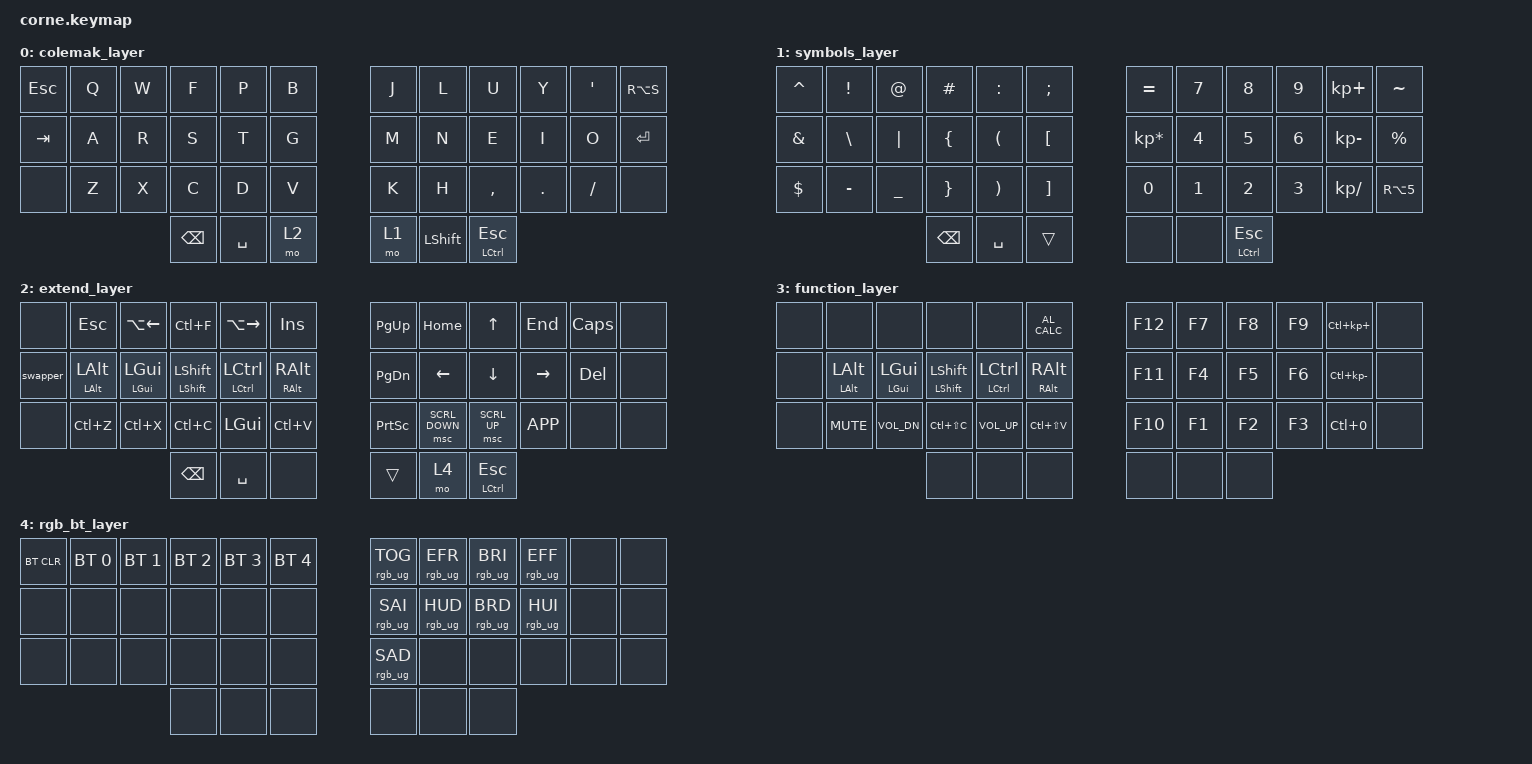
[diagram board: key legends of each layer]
/*
 * Colemak-DH layout for Corne (42 keys)
 * Converted from idobao/id75 QMK keymap "standardish_colmak9"
 *
 * Layer structure:
 *   0  Colemak-DH (base)
 *   1  Symbols + Numpad
 *   2  Extend (navigation)
 *   3  Function + Media  (conditional: hold L1 + L2)
 *   4  RGB + Bluetooth
 *
 * Key positions (for ignored-key-positions reference):
 *   Row 0:  0   1   2   3   4   5       6   7   8   9  10  11
 *   Row 1: 12  13  14  15  16  17      18  19  20  21  22  23
 *   Row 2: 24  25  26  27  28  29      30  31  32  33  34  35
 *   Thumb:         36  37  38              39  40  41
 */

#include <behaviors.dtsi>
#include <dt-bindings/zmk/keys.h>
#include <dt-bindings/zmk/bt.h>
#include <dt-bindings/zmk/rgb.h>
#include <dt-bindings/zmk/mouse.h>

/ {
    behaviors {
        swapper: swapper {
            compatible = "zmk,behavior-tri-state";
            #binding-cells = <0>;
            bindings = <&kt LALT>, <&kp TAB>, <&kt LALT>;
            ignored-key-positions = <15>;
        };

        /* Tap = sticky modifier; hold = plain modifier (released on key release,
         * no latching). Keeps chord ergonomics via &sk while fixing the case
         * where a held mod stays latched after release (e.g. Ctrl + scroll zoom).
         */
        skh: sticky_or_hold {
            compatible = "zmk,behavior-hold-tap";
            #binding-cells = <2>;
            tapping-term-ms = <200>;
            flavor = "tap-preferred";
            bindings = <&kp>, <&sk>;
        };
    };

    conditional_layers {
        compatible = "zmk,conditional-layers";
        function_layer_combo {
            if-layers = <1 2>;
            then-layer = <3>;
        };
    };

    keymap {
        compatible = "zmk,keymap";

        /* Layer 0: Colemak-DH
         * ┌─────┬─────┬─────┬─────┬─────┬─────┐   ┌─────┬─────┬─────┬─────┬─────┬─────┐
         * │ ESC │  Q  │  W  │  F  │  P  │  B  │   │  J  │  L  │  U  │  Y  │  '  │RA(S)│
         * ├─────┼─────┼─────┼─────┼─────┼─────┤   ├─────┼─────┼─────┼─────┼─────┼─────┤
         * │ TAB │  A  │  R  │  S  │  T  │  G  │   │  M  │  N  │  E  │  I  │  O  │ RET │
         * ├─────┼─────┼─────┼─────┼─────┼─────┤   ├─────┼─────┼─────┼─────┼─────┼─────┤
         * │     │  Z  │  X  │  C  │  D  │  V  │   │  K  │  H  │  ,  │  .  │  /  │     │
         * └─────┴─────┴─────┼─────┼─────┼─────┤   ├─────┼─────┼─────┼─────┴─────┴─────┘
         *                   │BSPC │ SPC │ L2  │   │ L1  │LSHFT│CT/ES│
         *                   └─────┴─────┴─────┘   └─────┴─────┴─────┘
         */
        colemak_layer {
            bindings = <
                &kp ESC    &kp Q  &kp W  &kp F      &kp P      &kp B      &kp J  &kp L      &kp U      &kp Y    &kp SQT   &kp RA(S)
                &kp TAB    &kp A  &kp R  &kp S      &kp T      &kp G      &kp M  &kp N      &kp E      &kp I    &kp O     &kp RET
                &none      &kp Z  &kp X  &kp C      &kp D      &kp V      &kp K  &kp H      &kp COMMA  &kp DOT  &kp FSLH  &none
                                         &kp BSPC   &kp SPACE  &mo 2      &mo 1  &kp LSHFT  &mt LCTRL ESC
            >;
        };

        /* Layer 1: Symbols + Numpad
         * ┌─────┬─────┬─────┬─────┬─────┬─────┐   ┌─────┬─────┬─────┬─────┬─────┬─────┐
         * │  ^  │  !  │  @  │  #  │  :  │  ;  │   │  =  │  7  │  8  │  9  │ KP+ │  ~  │
         * ├─────┼─────┼─────┼─────┼─────┼─────┤   ├─────┼─────┼─────┼─────┼─────┼─────┤
         * │  &  │  \  │  |  │  {  │  (  │  [  │   │ KP* │  4  │  5  │  6  │ KP- │  %  │
         * ├─────┼─────┼─────┼─────┼─────┼─────┤   ├─────┼─────┼─────┼─────┼─────┼─────┤
         * │  $  │  -  │  _  │  }  │  )  │  ]  │   │  0  │  1  │  2  │  3  │ KP/ │RA(5)│
         * └─────┴─────┴─────┼─────┼─────┼─────┤   ├─────┼─────┼─────┼─────┴─────┴─────┘
         *                   │BSPC │ SPC │[L2] │   │     │     │CT/ES│
         *                   └─────┴─────┴─────┘   └─────┴─────┴─────┘
         */
        symbols_layer {
            bindings = <
                &kp CARET  &kp EXCL   &kp AT     &kp HASH   &kp COLON  &kp SEMI    &kp EQUAL        &kp N7  &kp N8  &kp N9  &kp KP_PLUS    &kp TILDE
                &kp AMPS   &kp BSLH   &kp PIPE   &kp LBRC   &kp LPAR   &kp LBKT    &kp KP_MULTIPLY  &kp N4  &kp N5  &kp N6  &kp KP_MINUS   &kp PRCNT
                &kp DLLR   &kp MINUS  &kp UNDER  &kp RBRC   &kp RPAR   &kp RBKT    &kp N0           &kp N1  &kp N2  &kp N3  &kp KP_DIVIDE  &kp RA(N5)
                                                  &kp BSPC   &kp SPACE  &trans      &none            &none   &mt LCTRL ESC
            >;
        };

        /* Layer 2: Extend / Navigation
         * ┌─────┬─────┬─────┬─────┬─────┬─────┐   ┌─────┬─────┬─────┬─────┬─────┬─────┐
         * │     │ ESC │A(←) │ C-F │A(→) │ INS │   │PG_UP│HOME │  UP │ END │CAPS │     │
         * ├─────┼─────┼─────┼─────┼─────┼─────┤   ├─────┼─────┼─────┼─────┼─────┼─────┤
         * │ SWAP│ ALT │ GUI │SHIFT│CTRL │ALTGR│   │PG_DN│LEFT │DOWN │RIGHT│ DEL │     │
         * ├─────┼─────┼─────┼─────┼─────┼─────┤   ├─────┼─────┼─────┼─────┼─────┼─────┤
         * │     │UNDO │ CUT │COPY │ GUI │PASTE│   │PSCRN│SCR_D│SCR_U│ APP │     │     │
         * └─────┴─────┴─────┼─────┼─────┼─────┤   ├─────┼─────┼─────┼─────┴─────┴─────┘
         *                   │BSPC │ SPC │     │   │[L1] │ MO4 │CT/ES│
         *                   └─────┴─────┴─────┘   └─────┴─────┴─────┘
         *  SWAP = Alt-Tab swapper
         */
        extend_layer {
            bindings = <
                &none     &kp ESC    &kp LA(LEFT)  &kp LC(F)   &kp LA(RIGHT)  &kp INS     &kp PG_UP  &kp HOME  &kp UP    &kp END    &kp CAPS  &none
                &swapper  &skh LALT LALT  &skh LGUI LGUI  &skh LSHFT LSHFT  &skh LCTRL LCTRL  &skh RALT RALT    &kp PG_DN  &kp LEFT  &kp DOWN  &kp RIGHT  &kp DEL   &none
                &none     &kp LC(Z)  &kp LC(X)     &kp LC(C)   &kp LGUI       &kp LC(V)   &kp PSCRN  &msc SCRL_DOWN &msc SCRL_UP &kp K_APP  &none     &none
                                                    &kp BSPC   &kp SPACE      &none       &trans     &mo 4     &mt LCTRL ESC
            >;
        };

        /* Layer 3: Function + Media (conditional: L1 + L2)
         * ┌─────┬─────┬─────┬─────┬─────┬─────┐   ┌─────┬─────┬─────┬─────┬─────┬─────┐
         * │     │     │     │     │     │CALC │   │ F12 │ F7  │ F8  │ F9  │C-KP+│     │
         * ├─────┼─────┼─────┼─────┼─────┼─────┤   ├─────┼─────┼─────┼─────┼─────┼─────┤
         * │     │ ALT │ GUI │SHIFT│CTRL │ALTGR│   │ F11 │ F4  │ F5  │ F6  │C-KP-│     │
         * ├─────┼─────┼─────┼─────┼─────┼─────┤   ├─────┼─────┼─────┼─────┼─────┼─────┤
         * │     │MUTE │VOL_D│CS-C │VOL_U│CS-V │   │ F10 │ F1  │ F2  │ F3  │ C-0 │     │
         * └─────┴─────┴─────┼─────┼─────┼─────┤   ├─────┼─────┼─────┼─────┴─────┴─────┘
         *                   │     │     │     │   │     │     │     │
         *                   └─────┴─────┴─────┘   └─────┴─────┴─────┘
         */
        function_layer {
            bindings = <
                &none  &none       &none          &none          &none         &kp C_AL_CALC    &kp F12  &kp F7  &kp F8  &kp F9  &kp LC(KP_PLUS)   &none
                &none  &skh LALT LALT  &skh LGUI LGUI  &skh LSHFT LSHFT  &skh LCTRL LCTRL  &skh RALT RALT    &kp F11  &kp F4  &kp F5  &kp F6  &kp LC(KP_MINUS)  &none
                &none  &kp C_MUTE  &kp C_VOL_DN   &kp LC(LS(C))  &kp C_VOL_UP  &kp LC(LS(V))    &kp F10  &kp F1  &kp F2  &kp F3  &kp LC(N0)        &none
                                                   &none          &none         &none            &none    &none   &none
            >;
        };

        /* Layer 4: RGB + Bluetooth
         * ┌─────┬─────┬─────┬─────┬─────┬─────┐   ┌─────┬─────┬─────┬─────┬─────┬─────┐
         * │BTCLR│ BT0 │ BT1 │ BT2 │ BT3 │ BT4 │   │ TOG │ EF- │ BRI+│ EF+ │     │     │
         * ├─────┼─────┼─────┼─────┼─────┼─────┤   ├─────┼─────┼─────┼─────┼─────┼─────┤
         * │     │     │     │     │     │     │   │ SAT+│ HUE-│ BRI-│ HUE+│     │     │
         * ├─────┼─────┼─────┼─────┼─────┼─────┤   ├─────┼─────┼─────┼─────┼─────┼─────┤
         * │     │     │     │     │     │     │   │ SAT-│     │     │     │     │     │
         * └─────┴─────┴─────┼─────┼─────┼─────┤   ├─────┼─────┼─────┼─────┴─────┴─────┘
         *                   │     │     │     │   │     │     │     │
         *                   └─────┴─────┴─────┘   └─────┴─────┴─────┘
         */
        rgb_bt_layer {
            bindings = <
                &bt BT_CLR  &bt BT_SEL 0  &bt BT_SEL 1  &bt BT_SEL 2  &bt BT_SEL 3  &bt BT_SEL 4    &rgb_ug RGB_TOG  &rgb_ug RGB_EFR  &rgb_ug RGB_BRI  &rgb_ug RGB_EFF  &none  &none
                &none       &none         &none         &none         &none         &none            &rgb_ug RGB_SAI  &rgb_ug RGB_HUD  &rgb_ug RGB_BRD  &rgb_ug RGB_HUI  &none  &none
                &none       &none         &none         &none         &none         &none            &rgb_ug RGB_SAD  &none            &none            &none            &none  &none
                                                        &none         &none         &none            &none            &none            &none
            >;
        };
    };
};
